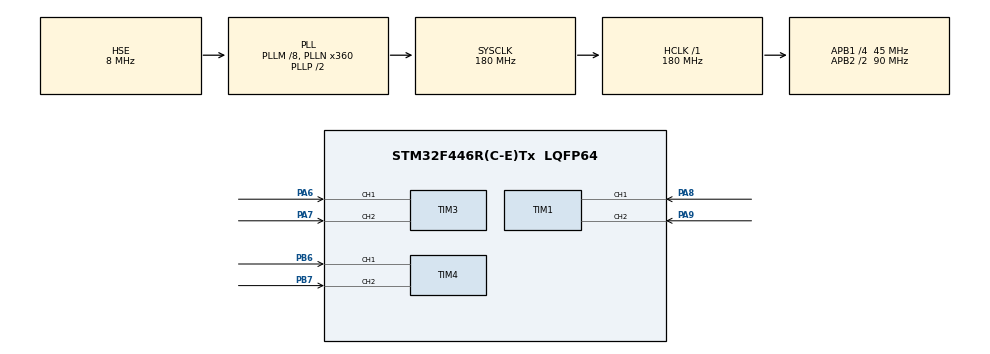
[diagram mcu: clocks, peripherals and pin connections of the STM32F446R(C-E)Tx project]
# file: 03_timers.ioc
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Mcu.Family=STM32F4
Mcu.Name=STM32F446R(C-E)Tx
Mcu.Package=LQFP64
NVIC.PriorityGroup=NVIC_PRIORITYGROUP_0
NVIC.TIM2_IRQn=true\:0\:0\:false\:false\:true\:true\:true\:true
NVIC.TIM6_DAC_IRQn=true\:0\:0\:false\:false\:true\:true\:true\:true
PA6.Signal=S_TIM3_CH1
PA7.Signal=S_TIM3_CH2
PA8.Signal=S_TIM1_CH1
PA9.Signal=S_TIM1_CH2
PB6.Signal=S_TIM4_CH1
PB7.Signal=S_TIM4_CH2
PH0-OSC_IN.Mode=HSE-External-Clock-Source
PH0-OSC_IN.Signal=RCC_OSC_IN
PH1-OSC_OUT.Mode=HSE-External-Clock-Source
PH1-OSC_OUT.Signal=RCC_OSC_OUT
ProjectManager.HeapSize=0x200
ProjectManager.StackSize=0x400
ProjectManager.TargetToolchain=CMake
RCC.AHBFreq_Value=180000000
RCC.APB1CLKDivider=RCC_HCLK_DIV4
RCC.APB1Freq_Value=45000000
RCC.APB1TimFreq_Value=90000000
RCC.APB2CLKDivider=RCC_HCLK_DIV2
RCC.APB2Freq_Value=90000000
RCC.APB2TimFreq_Value=180000000
RCC.CortexFreq_Value=180000000
RCC.FLatency-AdvancedSettings=FLASH_LATENCY_5
RCC.HCLKFreq_Value=180000000
RCC.HSE_VALUE=8000000
RCC.HSI_VALUE=16000000
RCC.LSE_VALUE=32768
RCC.PLLM=8
RCC.PLLN=360
RCC.PLLSourceVirtual=RCC_PLLSOURCE_HSE
RCC.SYSCLKFreq_VALUE=180000000
RCC.SYSCLKSource=RCC_SYSCLKSOURCE_PLLCLK
RCC.USBFreq_Value=180000000
RCC.VCOOutputFreq_Value=360000000
SH.S_TIM1_CH1.0=TIM1_CH1,Encoder_Interface
SH.S_TIM1_CH2.0=TIM1_CH2,Encoder_Interface
SH.S_TIM3_CH1.0=TIM3_CH1,Encoder_Interface
SH.S_TIM3_CH2.0=TIM3_CH2,Encoder_Interface
SH.S_TIM4_CH1.0=TIM4_CH1,Encoder_Interface
SH.S_TIM4_CH2.0=TIM4_CH2,Encoder_Interface
TIM1.EncoderMode=TIM_ENCODERMODE_TI12
TIM2.Channel-Output\ Compare1\ No\ Output=TIM_CHANNEL_1
TIM2.Channel-Output\ Compare2\ No\ Output=TIM_CHANNEL_2
TIM2.Channel-Output\ Compare3\ No\ Output=TIM_CHANNEL_3
TIM3.EncoderMode=TIM_ENCODERMODE_TI12
TIM4.EncoderMode=TIM_ENCODERMODE_TI12
TIM6.AutoReloadPreload=TIM_AUTORELOAD_PRELOAD_ENABLE
TIM6.Period=99
TIM6.Prescaler=89
VP_TIM2_VS_ClockSourceINT.Mode=Internal
VP_TIM2_VS_no_output1.Mode=Output Compare1 No Output
VP_TIM2_VS_no_output2.Mode=Output Compare2 No Output
VP_TIM2_VS_no_output3.Mode=Output Compare3 No Output
VP_TIM6_VS_ClockSourceINT.Mode=Enable_Timer
board=NUCLEO-F446RE

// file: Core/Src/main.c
/* USER CODE BEGIN Header */
/**
  ******************************************************************************
  * @file           : main.c
  * @brief          : Main program body
  ******************************************************************************
  * @attention
  *
  * Copyright (c) 2026 STMicroelectronics.
  * All rights reserved.
  *
  * This software is licensed under terms that can be found in the LICENSE file
  * in the root directory of this software component.
  * If no LICENSE file comes with this software, it is provided AS-IS.
  *
  ******************************************************************************
  */
/* USER CODE END Header */
#include "main.h"

TIM_HandleTypeDef htim1;
TIM_HandleTypeDef htim2;
TIM_HandleTypeDef htim3;
TIM_HandleTypeDef htim4;
TIM_HandleTypeDef htim6;

/* USER CODE BEGIN PV */

// TIM6 — control loop counter (just for demo)
volatile uint32_t isrCount = 0;

// TIM2 — step pulse demo
uint32_t stepInterval = 90000; // 90MHz / 90000 = 1000 steps/sec

// Encoder positions
volatile int32_t encZ1 = 0;
volatile int32_t encZ2 = 0;
volatile int32_t encX  = 0;

// Previous timer counts for delta calculation
uint16_t prevZ1 = 0;
uint16_t prevZ2 = 0;
uint16_t prevX  = 0;

/* USER CODE END PV */

void SystemClock_Config(void);
static void MX_GPIO_Init(void);
static void MX_TIM1_Init(void);
static void MX_TIM2_Init(void);
static void MX_TIM3_Init(void);
static void MX_TIM4_Init(void);
static void MX_TIM6_Init(void);

int main(void)
{

  /* MCU Configuration--------------------------------------------------------*/

  /* Reset of all peripherals, Initializes the Flash interface and the Systick. */
  HAL_Init();

  /* Configure the system clock */
  SystemClock_Config();

  /* Initialize all configured peripherals */
  MX_GPIO_Init();
  MX_TIM1_Init();
  MX_TIM2_Init();
  MX_TIM3_Init();
  MX_TIM4_Init();
  MX_TIM6_Init();
  /* USER CODE BEGIN 2 */

  // Start encoder timers
  HAL_TIM_Encoder_Start(&htim1, TIM_CHANNEL_ALL);
  HAL_TIM_Encoder_Start(&htim3, TIM_CHANNEL_ALL);
  HAL_TIM_Encoder_Start(&htim4, TIM_CHANNEL_ALL);

  // Start TIM2 output compare on all 3 channels
  HAL_TIM_OC_Start_IT(&htim2, TIM_CHANNEL_1);
  HAL_TIM_OC_Start_IT(&htim2, TIM_CHANNEL_2);
  HAL_TIM_OC_Start_IT(&htim2, TIM_CHANNEL_3);

  // Start TIM6 base timer with interrupt
  HAL_TIM_Base_Start_IT(&htim6);

  /* USER CODE END 2 */

  /* Infinite loop */
  while (1)
  {

    // Read encoder deltas
    uint16_t curZ1 = (uint16_t)__HAL_TIM_GET_COUNTER(&htim1);
    uint16_t curZ2 = (uint16_t)__HAL_TIM_GET_COUNTER(&htim3);
    uint16_t curX  = (uint16_t)__HAL_TIM_GET_COUNTER(&htim4);

    encZ1 += (int16_t)(curZ1 - prevZ1);
    encZ2 += (int16_t)(curZ2 - prevZ2);
    encX  += (int16_t)(curX  - prevX);

    prevZ1 = curZ1;
    prevZ2 = curZ2;
    prevX  = curX;

    HAL_Delay(10);

  }
}

void SystemClock_Config(void)
{
  RCC_OscInitTypeDef RCC_OscInitStruct = {0};
  RCC_ClkInitTypeDef RCC_ClkInitStruct = {0};

  /** Configure the main internal regulator output voltage
  */
  __HAL_RCC_PWR_CLK_ENABLE();
  __HAL_PWR_VOLTAGESCALING_CONFIG(PWR_REGULATOR_VOLTAGE_SCALE1);

  /** Initializes the RCC Oscillators according to the specified parameters
  * in the RCC_OscInitTypeDef structure.
  */
  RCC_OscInitStruct.OscillatorType = RCC_OSCILLATORTYPE_HSE;
  RCC_OscInitStruct.HSEState = RCC_HSE_BYPASS;
  RCC_OscInitStruct.PLL.PLLState = RCC_PLL_ON;
  RCC_OscInitStruct.PLL.PLLSource = RCC_PLLSOURCE_HSE;
  RCC_OscInitStruct.PLL.PLLM = 8;
  RCC_OscInitStruct.PLL.PLLN = 360;
  RCC_OscInitStruct.PLL.PLLP = RCC_PLLP_DIV2;
  RCC_OscInitStruct.PLL.PLLQ = 2;
  RCC_OscInitStruct.PLL.PLLR = 2;
  if (HAL_RCC_OscConfig(&RCC_OscInitStruct) != HAL_OK)
  {
    Error_Handler();
  }

  /** Activate the Over-Drive mode
  */
  if (HAL_PWREx_EnableOverDrive() != HAL_OK)
  {
    Error_Handler();
  }

  /** Initializes the CPU, AHB and APB buses clocks
  */
  RCC_ClkInitStruct.ClockType = RCC_CLOCKTYPE_HCLK|RCC_CLOCKTYPE_SYSCLK
                              |RCC_CLOCKTYPE_PCLK1|RCC_CLOCKTYPE_PCLK2;
  RCC_ClkInitStruct.SYSCLKSource = RCC_SYSCLKSOURCE_PLLCLK;
  RCC_ClkInitStruct.AHBCLKDivider = RCC_SYSCLK_DIV1;
  RCC_ClkInitStruct.APB1CLKDivider = RCC_HCLK_DIV4;
  RCC_ClkInitStruct.APB2CLKDivider = RCC_HCLK_DIV2;

  if (HAL_RCC_ClockConfig(&RCC_ClkInitStruct, FLASH_LATENCY_5) != HAL_OK)
  {
    Error_Handler();
  }
}

static void MX_TIM1_Init(void)
{

  TIM_Encoder_InitTypeDef sConfig = {0};
  TIM_MasterConfigTypeDef sMasterConfig = {0};

  htim1.Instance = TIM1;
  htim1.Init.Prescaler = 0;
  htim1.Init.CounterMode = TIM_COUNTERMODE_UP;
  htim1.Init.Period = 65535;
  htim1.Init.ClockDivision = TIM_CLOCKDIVISION_DIV1;
  htim1.Init.RepetitionCounter = 0;
  htim1.Init.AutoReloadPreload = TIM_AUTORELOAD_PRELOAD_DISABLE;
  sConfig.EncoderMode = TIM_ENCODERMODE_TI12;
  sConfig.IC1Polarity = TIM_ICPOLARITY_RISING;
  sConfig.IC1Selection = TIM_ICSELECTION_DIRECTTI;
  sConfig.IC1Prescaler = TIM_ICPSC_DIV1;
  sConfig.IC1Filter = 0;
  sConfig.IC2Polarity = TIM_ICPOLARITY_RISING;
  sConfig.IC2Selection = TIM_ICSELECTION_DIRECTTI;
  sConfig.IC2Prescaler = TIM_ICPSC_DIV1;
  sConfig.IC2Filter = 0;
  if (HAL_TIM_Encoder_Init(&htim1, &sConfig) != HAL_OK)
  {
    Error_Handler();
  }
  sMasterConfig.MasterOutputTrigger = TIM_TRGO_RESET;
  sMasterConfig.MasterSlaveMode = TIM_MASTERSLAVEMODE_DISABLE;
  if (HAL_TIMEx_MasterConfigSynchronization(&htim1, &sMasterConfig) != HAL_OK)
  {
    Error_Handler();
  }

}

static void MX_TIM2_Init(void)
{

  TIM_ClockConfigTypeDef sClockSourceConfig = {0};
  TIM_MasterConfigTypeDef sMasterConfig = {0};
  TIM_OC_InitTypeDef sConfigOC = {0};

  htim2.Instance = TIM2;
  htim2.Init.Prescaler = 0;
  htim2.Init.CounterMode = TIM_COUNTERMODE_UP;
  htim2.Init.Period = 4294967295;
  htim2.Init.ClockDivision = TIM_CLOCKDIVISION_DIV1;
  htim2.Init.AutoReloadPreload = TIM_AUTORELOAD_PRELOAD_DISABLE;
  if (HAL_TIM_Base_Init(&htim2) != HAL_OK)
  {
    Error_Handler();
  }
  sClockSourceConfig.ClockSource = TIM_CLOCKSOURCE_INTERNAL;
  if (HAL_TIM_ConfigClockSource(&htim2, &sClockSourceConfig) != HAL_OK)
  {
    Error_Handler();
  }
  if (HAL_TIM_OC_Init(&htim2) != HAL_OK)
  {
    Error_Handler();
  }
  sMasterConfig.MasterOutputTrigger = TIM_TRGO_RESET;
  sMasterConfig.MasterSlaveMode = TIM_MASTERSLAVEMODE_DISABLE;
  if (HAL_TIMEx_MasterConfigSynchronization(&htim2, &sMasterConfig) != HAL_OK)
  {
    Error_Handler();
  }
  sConfigOC.OCMode = TIM_OCMODE_TIMING;
  sConfigOC.Pulse = 0;
  sConfigOC.OCPolarity = TIM_OCPOLARITY_HIGH;
  sConfigOC.OCFastMode = TIM_OCFAST_DISABLE;
  if (HAL_TIM_OC_ConfigChannel(&htim2, &sConfigOC, TIM_CHANNEL_1) != HAL_OK)
  {
    Error_Handler();
  }
  if (HAL_TIM_OC_ConfigChannel(&htim2, &sConfigOC, TIM_CHANNEL_2) != HAL_OK)
  {
    Error_Handler();
  }
  if (HAL_TIM_OC_ConfigChannel(&htim2, &sConfigOC, TIM_CHANNEL_3) != HAL_OK)
  {
    Error_Handler();
  }

}

static void MX_TIM3_Init(void)
{

  TIM_Encoder_InitTypeDef sConfig = {0};
  TIM_MasterConfigTypeDef sMasterConfig = {0};

  htim3.Instance = TIM3;
  htim3.Init.Prescaler = 0;
  htim3.Init.CounterMode = TIM_COUNTERMODE_UP;
  htim3.Init.Period = 65535;
  htim3.Init.ClockDivision = TIM_CLOCKDIVISION_DIV1;
  htim3.Init.AutoReloadPreload = TIM_AUTORELOAD_PRELOAD_DISABLE;
  sConfig.EncoderMode = TIM_ENCODERMODE_TI12;
  sConfig.IC1Polarity = TIM_ICPOLARITY_RISING;
  sConfig.IC1Selection = TIM_ICSELECTION_DIRECTTI;
  sConfig.IC1Prescaler = TIM_ICPSC_DIV1;
  sConfig.IC1Filter = 0;
  sConfig.IC2Polarity = TIM_ICPOLARITY_RISING;
  sConfig.IC2Selection = TIM_ICSELECTION_DIRECTTI;
  sConfig.IC2Prescaler = TIM_ICPSC_DIV1;
  sConfig.IC2Filter = 0;
  if (HAL_TIM_Encoder_Init(&htim3, &sConfig) != HAL_OK)
  {
    Error_Handler();
  }
  sMasterConfig.MasterOutputTrigger = TIM_TRGO_RESET;
  sMasterConfig.MasterSlaveMode = TIM_MASTERSLAVEMODE_DISABLE;
  if (HAL_TIMEx_MasterConfigSynchronization(&htim3, &sMasterConfig) != HAL_OK)
  {
    Error_Handler();
  }

}

static void MX_TIM4_Init(void)
{

  TIM_Encoder_InitTypeDef sConfig = {0};
  TIM_MasterConfigTypeDef sMasterConfig = {0};

  htim4.Instance = TIM4;
  htim4.Init.Prescaler = 0;
  htim4.Init.CounterMode = TIM_COUNTERMODE_UP;
  htim4.Init.Period = 65535;
  htim4.Init.ClockDivision = TIM_CLOCKDIVISION_DIV1;
  htim4.Init.AutoReloadPreload = TIM_AUTORELOAD_PRELOAD_DISABLE;
  sConfig.EncoderMode = TIM_ENCODERMODE_TI12;
  sConfig.IC1Polarity = TIM_ICPOLARITY_RISING;
  sConfig.IC1Selection = TIM_ICSELECTION_DIRECTTI;
  sConfig.IC1Prescaler = TIM_ICPSC_DIV1;
  sConfig.IC1Filter = 0;
  sConfig.IC2Polarity = TIM_ICPOLARITY_RISING;
  sConfig.IC2Selection = TIM_ICSELECTION_DIRECTTI;
  sConfig.IC2Prescaler = TIM_ICPSC_DIV1;
  sConfig.IC2Filter = 0;
  if (HAL_TIM_Encoder_Init(&htim4, &sConfig) != HAL_OK)
  {
    Error_Handler();
  }
  sMasterConfig.MasterOutputTrigger = TIM_TRGO_RESET;
  sMasterConfig.MasterSlaveMode = TIM_MASTERSLAVEMODE_DISABLE;
  if (HAL_TIMEx_MasterConfigSynchronization(&htim4, &sMasterConfig) != HAL_OK)
  {
    Error_Handler();
  }

}

static void MX_TIM6_Init(void)
{

  TIM_MasterConfigTypeDef sMasterConfig = {0};

  htim6.Instance = TIM6;
  htim6.Init.Prescaler = 89;
  htim6.Init.CounterMode = TIM_COUNTERMODE_UP;
  htim6.Init.Period = 99;
  htim6.Init.AutoReloadPreload = TIM_AUTORELOAD_PRELOAD_ENABLE;
  if (HAL_TIM_Base_Init(&htim6) != HAL_OK)
  {
    Error_Handler();
  }
  sMasterConfig.MasterOutputTrigger = TIM_TRGO_RESET;
  sMasterConfig.MasterSlaveMode = TIM_MASTERSLAVEMODE_DISABLE;
  if (HAL_TIMEx_MasterConfigSynchronization(&htim6, &sMasterConfig) != HAL_OK)
  {
    Error_Handler();
  }

}

static void MX_GPIO_Init(void)
{

  /* GPIO Ports Clock Enable */
  __HAL_RCC_GPIOH_CLK_ENABLE();
  __HAL_RCC_GPIOA_CLK_ENABLE();
  __HAL_RCC_GPIOB_CLK_ENABLE();

}

/* USER CODE BEGIN 4 */

// TIM6 — fires at 10kHz
void HAL_TIM_PeriodElapsedCallback(TIM_HandleTypeDef *htim)
{
    if (htim->Instance == TIM6)
    {
        isrCount++;
    }
}

// TIM2 — output compare, advance each channel's next pulse
void HAL_TIM_OC_DelayElapsedCallback(TIM_HandleTypeDef *htim)
{
    if (htim->Instance == TIM2)
    {
        if (htim->Channel == HAL_TIM_ACTIVE_CHANNEL_1)
            __HAL_TIM_SET_COMPARE(&htim2, TIM_CHANNEL_1,
                __HAL_TIM_GET_COMPARE(&htim2, TIM_CHANNEL_1) + stepInterval);

        if (htim->Channel == HAL_TIM_ACTIVE_CHANNEL_2)
            __HAL_TIM_SET_COMPARE(&htim2, TIM_CHANNEL_2,
                __HAL_TIM_GET_COMPARE(&htim2, TIM_CHANNEL_2) + stepInterval);

        if (htim->Channel == HAL_TIM_ACTIVE_CHANNEL_3)
            __HAL_TIM_SET_COMPARE(&htim2, TIM_CHANNEL_3,
                __HAL_TIM_GET_COMPARE(&htim2, TIM_CHANNEL_3) + stepInterval);
    }
}

/* USER CODE END 4 */

void Error_Handler(void)
{
  __disable_irq();
  while (1)
  {
  }
}
